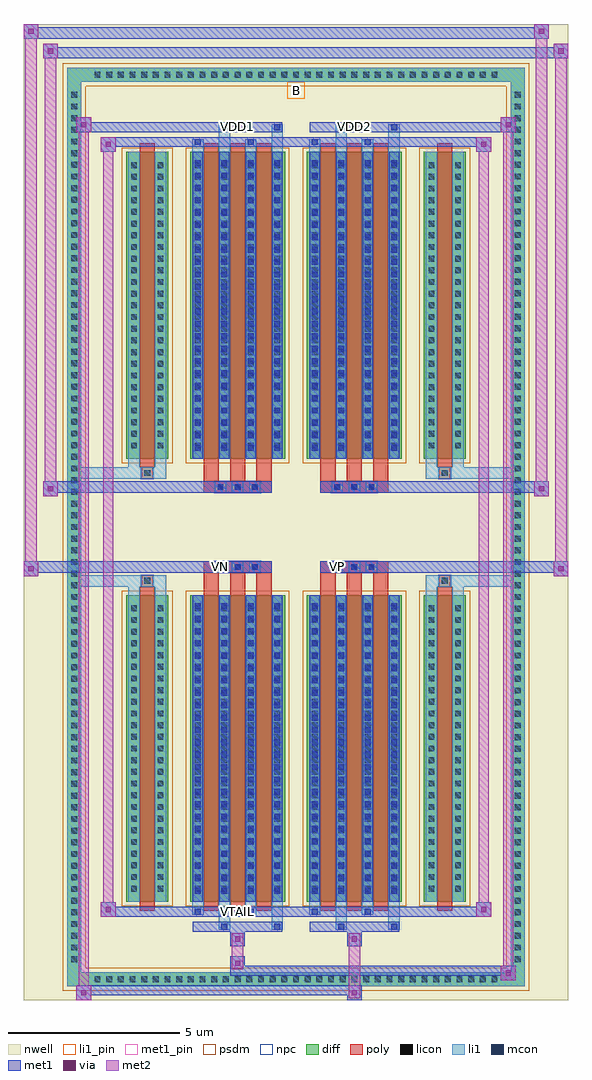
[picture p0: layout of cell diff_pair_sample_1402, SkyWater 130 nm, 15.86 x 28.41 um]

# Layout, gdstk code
import gdstk
lib = gdstk.Library(unit=1e-6, precision=5e-09)
def R(c, l, rs):  # rectangles x0, y0, x1, y1
    for r in rs: c.add(gdstk.rectangle(r[:2], r[2:], *l))
def A(c, l, x, y, w, h, nx, ny, dx, dy):  # array of equal rectangles
    R(c, l, [(x+i*dx, y+j*dy, x+i*dx+w, y+j*dy+h) for i in range(nx) for j in range(ny)])
def P(c, l, *ps):  # polygons
    for p in ps: c.add(gdstk.Polygon(p, *l))
nwell = (64, 20)
diff = (65, 20)
poly = (66, 20)
licon = (66, 44)
li1_pin = (67, 16)
li1 = (67, 20)
mcon = (67, 44)
met1_pin = (68, 16)
met1 = (68, 20)
via = (68, 44)
met2 = (69, 20)
psdm = (94, 20)
npc = (95, 20)

diff_pair_sample_1402 = lib.new_cell('diff_pair_sample_1402')
R(diff_pair_sample_1402, nwell, [(-7.93,-13.77,7.93,14.64), (-5.25,-11.96,-0.01,-0.8), (0.01,-11.96,5.25,-0.8), (-5.25,0.8,-0.01,11.96), (0.01,0.8,5.25,11.96)])
A(diff_pair_sample_1402, diff, -5.985, -13.37, 0.41, 0.41, 35, 2, 0.34, 26.33)
A(diff_pair_sample_1402, diff, -6.66, -12.785, 0.41, 0.41, 1, 75, 0, 0.34)
A(diff_pair_sample_1402, diff, 6.25, -12.785, 0.41, 0.41, 1, 75, 0, 0.34)
R(diff_pair_sample_1402, diff, [(-5.985,-13.37,5.985,-12.96), (-6.66,-12.785,-6.25,12.785), (6.25,-12.785,6.66,12.785), (-4.94,-10.915,-3.72,-1.985), (-3.08,-10.915,-0.32,-1.985), (0.32,-10.915,3.08,-1.985), (3.72,-10.915,4.94,-1.985), (-4.94,1.985,-3.72,10.915), (-3.08,1.985,-0.32,10.915), (0.32,1.985,3.08,10.915), (3.72,1.985,4.94,10.915), (-5.985,12.96,5.985,13.37)])
P(diff_pair_sample_1402, diff, [(6.66,13.37),(-6.66,13.37),(-6.66,-12.96),(-6.25,-12.96),(-6.25,12.96),(6.25,12.96),(6.25,-12.96),(-6.25,-12.96),(-6.66,-12.96),(-6.66,-13.37),(6.66,-13.37)])
A(diff_pair_sample_1402, poly, -2.69, -11.165, 0.44, 9.43, 3, 2, 0.77, 12.9)
A(diff_pair_sample_1402, poly, 0.71, -11.165, 0.44, 9.43, 3, 2, 0.77, 12.9)
A(diff_pair_sample_1402, poly, -2.69, -1.735, 0.44, 0.405, 3, 2, 0.77, 3.065)
A(diff_pair_sample_1402, poly, 0.71, -1.735, 0.44, 0.405, 3, 2, 0.77, 3.065)
A(diff_pair_sample_1402, poly, -2.365, -1.33, 0.33, 0.33, 3, 2, 0.5, 2.33)
A(diff_pair_sample_1402, poly, 1.035, -1.33, 0.33, 0.33, 3, 2, 0.5, 2.33)
R(diff_pair_sample_1402, poly, [(-4.55,-11.165,-4.11,-1.735), (4.11,-11.165,4.55,-1.735), (-4.495,-1.735,-4.165,-1.405), (-4.495,-1.735,-4.165,-1.405), (4.165,-1.735,4.495,-1.405), (4.165,-1.735,4.495,-1.405), (-2.69,-1.33,-0.71,-1), (0.71,-1.33,2.69,-1), (-2.69,1,-0.71,1.33), (0.71,1,2.69,1.33), (-4.495,1.405,-4.165,1.735), (-4.495,1.405,-4.165,1.735), (4.165,1.405,4.495,1.735), (4.165,1.405,4.495,1.735), (-4.55,1.735,-4.11,11.165), (4.11,1.735,4.55,11.165)])
A(diff_pair_sample_1402, licon, -5.865, -13.25, 0.17, 0.17, 35, 2, 0.34, 26.33)
A(diff_pair_sample_1402, licon, -6.54, -12.665, 0.17, 0.17, 1, 75, 0, 0.34)
A(diff_pair_sample_1402, licon, 6.37, -12.665, 0.17, 0.17, 1, 75, 0, 0.34)
A(diff_pair_sample_1402, licon, -4.8, -10.615, 0.17, 0.17, 1, 25, 0, 0.34)
A(diff_pair_sample_1402, licon, -4.03, -10.615, 0.17, 0.17, 1, 25, 0, 0.34)
A(diff_pair_sample_1402, licon, -2.94, -10.615, 0.17, 0.17, 4, 25, 0.77, 0.34)
A(diff_pair_sample_1402, licon, 0.46, -10.615, 0.17, 0.17, 4, 25, 0.77, 0.34)
A(diff_pair_sample_1402, licon, 3.86, -10.615, 0.17, 0.17, 1, 25, 0, 0.34)
A(diff_pair_sample_1402, licon, 4.63, -10.615, 0.17, 0.17, 1, 25, 0, 0.34)
A(diff_pair_sample_1402, licon, -2.285, -1.25, 0.17, 0.17, 3, 2, 0.5, 2.33)
A(diff_pair_sample_1402, licon, 1.115, -1.25, 0.17, 0.17, 3, 2, 0.5, 2.33)
A(diff_pair_sample_1402, licon, -4.8, 2.285, 0.17, 0.17, 1, 25, 0, 0.34)
A(diff_pair_sample_1402, licon, -4.03, 2.285, 0.17, 0.17, 1, 25, 0, 0.34)
A(diff_pair_sample_1402, licon, -2.94, 2.285, 0.17, 0.17, 4, 25, 0.77, 0.34)
A(diff_pair_sample_1402, licon, 0.46, 2.285, 0.17, 0.17, 4, 25, 0.77, 0.34)
A(diff_pair_sample_1402, licon, 3.86, 2.285, 0.17, 0.17, 1, 25, 0, 0.34)
A(diff_pair_sample_1402, licon, 4.63, 2.285, 0.17, 0.17, 1, 25, 0, 0.34)
R(diff_pair_sample_1402, licon, [(-4.415,-1.655,-4.245,-1.485), (4.245,-1.655,4.415,-1.485), (-4.415,1.485,-4.245,1.655), (4.245,1.485,4.415,1.655)])
R(diff_pair_sample_1402, li1_pin, [(-0.25,12.46,0.25,12.96)])
A(diff_pair_sample_1402, li1, -5.945, -13.33, 0.33, 0.33, 35, 2, 0.34, 26.33)
A(diff_pair_sample_1402, li1, -6.62, -12.745, 0.33, 0.33, 1, 75, 0, 0.34)
A(diff_pair_sample_1402, li1, 6.29, -12.745, 0.33, 0.33, 1, 75, 0, 0.34)
A(diff_pair_sample_1402, li1, -3.02, -10.915, 0.33, 8.93, 4, 2, 0.77, 12.9)
A(diff_pair_sample_1402, li1, 0.38, -10.915, 0.33, 8.93, 4, 2, 0.77, 12.9)
A(diff_pair_sample_1402, li1, -4.88, -10.695, 0.33, 0.33, 1, 25, 0, 0.34)
A(diff_pair_sample_1402, li1, -4.11, -10.695, 0.33, 0.33, 1, 25, 0, 0.34)
A(diff_pair_sample_1402, li1, -3.02, -10.695, 0.33, 0.33, 4, 25, 0.77, 0.34)
A(diff_pair_sample_1402, li1, 0.38, -10.695, 0.33, 0.33, 4, 25, 0.77, 0.34)
A(diff_pair_sample_1402, li1, 3.78, -10.695, 0.33, 0.33, 1, 25, 0, 0.34)
A(diff_pair_sample_1402, li1, 4.55, -10.695, 0.33, 0.33, 1, 25, 0, 0.34)
A(diff_pair_sample_1402, li1, -2.94, -10.675, 0.17, 0.17, 4, 24, 0.77, 0.36)
A(diff_pair_sample_1402, li1, -2.94, -10.675, 0.17, 8.45, 4, 2, 0.77, 12.9)
A(diff_pair_sample_1402, li1, 0.46, -10.675, 0.17, 0.17, 4, 24, 0.77, 0.36)
A(diff_pair_sample_1402, li1, 0.46, -10.675, 0.17, 8.45, 4, 2, 0.77, 12.9)
A(diff_pair_sample_1402, li1, -2.365, -1.33, 0.33, 0.33, 3, 2, 0.5, 2.33)
A(diff_pair_sample_1402, li1, 1.035, -1.33, 0.33, 0.33, 3, 2, 0.5, 2.33)
A(diff_pair_sample_1402, li1, -4.88, 2.205, 0.33, 0.33, 1, 25, 0, 0.34)
A(diff_pair_sample_1402, li1, -4.11, 2.205, 0.33, 0.33, 1, 25, 0, 0.34)
A(diff_pair_sample_1402, li1, -3.02, 2.205, 0.33, 0.33, 4, 25, 0.77, 0.34)
A(diff_pair_sample_1402, li1, 0.38, 2.205, 0.33, 0.33, 4, 25, 0.77, 0.34)
A(diff_pair_sample_1402, li1, 3.78, 2.205, 0.33, 0.33, 1, 25, 0, 0.34)
A(diff_pair_sample_1402, li1, 4.55, 2.205, 0.33, 0.33, 1, 25, 0, 0.34)
A(diff_pair_sample_1402, li1, -2.94, 2.225, 0.17, 0.17, 4, 24, 0.77, 0.36)
A(diff_pair_sample_1402, li1, 0.46, 2.225, 0.17, 0.17, 4, 24, 0.77, 0.36)
R(diff_pair_sample_1402, li1, [(-6.66,-13.37,-6.25,-12.96), (-6.66,-13.37,-6.25,-12.96), (-6.25,-13.37,6.25,-12.96), (6.25,-13.37,6.66,-12.96), (6.25,-13.37,6.66,-12.96), (-6.66,-12.96,-6.25,12.96), (6.25,-12.96,6.66,12.96), (-2.25,-11.72,-1.92,-10.915), (-2.17,-11.72,-2,-11.55), (-0.71,-11.72,-0.38,-10.915), (-0.63,-11.72,-0.46,-11.55), (1.15,-11.72,1.48,-10.915), (1.23,-11.72,1.4,-11.55), (2.69,-11.72,3.02,-10.915), (2.77,-11.72,2.94,-11.55), (-3.02,-11.29,-2.69,-10.915), (-2.94,-11.29,-2.77,-11.12), (-1.48,-11.29,-1.15,-10.915), (-1.4,-11.29,-1.23,-11.12), (0.38,-11.29,0.71,-10.915), (0.46,-11.29,0.63,-11.12), (1.92,-11.29,2.25,-10.915), (2,-11.29,2.17,-11.12), (-4.88,-10.915,-4.55,-1.985), (-4.11,-10.915,-3.78,-1.985), (3.78,-10.915,4.11,-1.985), (4.55,-10.915,4.88,-1.985), (-4.88,-1.985,-4.55,-1.405), (-4.11,-1.985,-3.78,-1.405), (3.78,-1.985,4.11,-1.405), (4.55,-1.985,4.88,-1.405), (-6.66,-1.735,-4.495,-1.405), (-4.88,-1.735,-4.495,-1.405), (-4.495,-1.735,-4.165,-1.405), (-4.165,-1.735,-3.78,-1.405), (3.78,-1.735,4.165,-1.405), (4.165,-1.735,4.495,-1.405), (4.165,-1.735,6.66,-1.405), (4.495,-1.735,4.88,-1.405), (-6.66,1.405,-4.495,1.735), (-4.88,1.405,-4.495,1.735), (-4.88,1.405,-4.55,1.985), (-4.495,1.405,-4.165,1.735), (-4.165,1.405,-3.78,1.735), (-4.11,1.405,-3.78,1.985), (3.78,1.405,4.165,1.735), (3.78,1.405,4.11,1.985), (4.165,1.405,4.495,1.735), (4.165,1.405,6.66,1.735), (4.495,1.405,4.88,1.735), (4.55,1.405,4.88,1.985), (-4.88,1.985,-4.55,10.915), (-4.11,1.985,-3.78,10.915), (3.78,1.985,4.11,10.915), (4.55,1.985,4.88,10.915), (-3.02,10.915,-2.69,11.29), (-2.25,10.915,-1.92,11.72), (-1.48,10.915,-1.15,11.29), (-0.71,10.915,-0.38,11.72), (0.38,10.915,0.71,11.29), (1.15,10.915,1.48,11.72), (1.92,10.915,2.25,11.29), (2.69,10.915,3.02,11.72), (-2.94,11.12,-2.77,11.29), (-1.4,11.12,-1.23,11.29), (0.46,11.12,0.63,11.29), (2,11.12,2.17,11.29), (-2.17,11.55,-2,11.72), (-0.63,11.55,-0.46,11.72), (1.23,11.55,1.4,11.72), (2.77,11.55,2.94,11.72), (-6.66,12.96,-6.25,13.37), (-6.66,12.96,-6.25,13.37), (-6.25,12.96,6.25,13.37), (6.25,12.96,6.66,13.37), (6.25,12.96,6.66,13.37)])
A(diff_pair_sample_1402, mcon, -2.94, -10.675, 0.17, 0.17, 4, 24, 0.77, 0.36)
A(diff_pair_sample_1402, mcon, 0.46, -10.675, 0.17, 0.17, 4, 24, 0.77, 0.36)
A(diff_pair_sample_1402, mcon, -2.285, -1.25, 0.17, 0.17, 3, 2, 0.5, 2.33)
A(diff_pair_sample_1402, mcon, 1.115, -1.25, 0.17, 0.17, 3, 2, 0.5, 2.33)
A(diff_pair_sample_1402, mcon, -2.94, 2.225, 0.17, 0.17, 4, 24, 0.77, 0.36)
A(diff_pair_sample_1402, mcon, 0.46, 2.225, 0.17, 0.17, 4, 24, 0.77, 0.36)
R(diff_pair_sample_1402, mcon, [(-2.17,-11.72,-2,-11.55), (-0.63,-11.72,-0.46,-11.55), (1.23,-11.72,1.4,-11.55), (2.77,-11.72,2.94,-11.55), (-2.94,-11.29,-2.77,-11.12), (-1.4,-11.29,-1.23,-11.12), (0.46,-11.29,0.63,-11.12), (2,-11.29,2.17,-11.12), (-2.94,11.12,-2.77,11.29), (-1.4,11.12,-1.23,11.29), (0.46,11.12,0.63,11.29), (2,11.12,2.17,11.29), (-2.17,11.55,-2,11.72), (-0.63,11.55,-0.46,11.72), (1.23,11.55,1.4,11.72), (2.77,11.55,2.94,11.72)])
R(diff_pair_sample_1402, met1_pin, [(-1.835,-11.33,-1.565,-11.06), (-2.335,-1.29,-2.065,-1.02), (1.065,-1.29,1.335,-1.02), (-1.835,11.51,-1.565,11.78), (1.565,11.51,1.835,11.78)])
A(diff_pair_sample_1402, met1, -3, -10.915, 0.29, 8.93, 4, 2, 0.77, 12.9)
A(diff_pair_sample_1402, met1, 0.4, -10.915, 0.29, 8.93, 4, 2, 0.77, 12.9)
A(diff_pair_sample_1402, met1, -3, -10.735, 0.29, 0.29, 4, 24, 0.77, 0.36)
A(diff_pair_sample_1402, met1, 0.4, -10.735, 0.29, 0.29, 4, 24, 0.77, 0.36)
A(diff_pair_sample_1402, met1, -2.345, -1.31, 0.29, 0.29, 3, 2, 0.5, 2.33)
A(diff_pair_sample_1402, met1, 1.055, -1.31, 0.29, 0.29, 3, 2, 0.5, 2.33)
A(diff_pair_sample_1402, met1, -3, 2.165, 0.29, 0.29, 4, 24, 0.77, 0.36)
A(diff_pair_sample_1402, met1, 0.4, 2.165, 0.29, 0.29, 4, 24, 0.77, 0.36)
R(diff_pair_sample_1402, met1, [(-6.39,-13.77,-5.96,-13.34), (1.485,-13.77,1.915,-13.34), (-6.39,-13.63,1.915,-13.34), (5.96,-13.2,6.39,-12.77), (-1.915,-13.06,6.39,-12.77), (-1.915,-12.92,-1.485,-12.49), (-1.915,-12.21,-1.485,-11.78), (1.485,-12.21,1.915,-11.78), (-3,-11.78,-0.4,-11.49), (-2.23,-11.78,-1.94,-11.49), (-0.69,-11.78,-0.4,-11.49), (0.4,-11.78,3,-11.49), (1.17,-11.78,1.46,-11.49), (2.71,-11.78,3,-11.49), (-5.68,-11.35,-5.25,-10.92), (-5.68,-11.35,-3,-11.06), (-3,-11.35,-2.71,-11.06), (-3,-11.35,-0.4,-11.06), (-1.46,-11.35,-1.17,-11.06), (-0.4,-11.35,0.4,-11.06), (0.4,-11.35,0.69,-11.06), (0.4,-11.35,3,-11.06), (1.94,-11.35,2.23,-11.06), (3,-11.35,5.68,-11.06), (5.25,-11.35,5.68,-10.92), (-7.93,-1.43,-7.5,-1), (7.5,-1.43,7.93,-1), (-7.93,-1.33,-0.71,-1), (-2.69,-1.33,-0.71,-1), (0.71,-1.33,2.69,-1), (0.71,-1.33,7.93,-1), (-7.36,0.9,-6.93,1.33), (6.93,0.9,7.36,1.33), (-7.36,1,-2.69,1.33), (-2.69,1,-0.71,1.33), (0.71,1,2.69,1.33), (2.69,1,7.36,1.33), (-5.68,10.92,-5.25,11.35), (5.25,10.92,5.68,11.35), (-5.68,11.06,-3,11.35), (-3,11.06,-2.71,11.35), (-3,11.06,-0.4,11.35), (-1.46,11.06,-1.17,11.35), (-0.4,11.06,0.4,11.35), (0.4,11.06,0.69,11.35), (0.4,11.06,3,11.35), (1.94,11.06,2.23,11.35), (3,11.06,5.68,11.35), (-6.39,11.49,-5.96,11.92), (-6.39,11.49,-3,11.78), (-3,11.49,-0.4,11.78), (-2.23,11.49,-1.94,11.78), (-0.69,11.49,-0.4,11.78), (0.4,11.49,3,11.78), (1.17,11.49,1.46,11.78), (2.71,11.49,3,11.78), (3,11.49,6.39,11.78), (5.96,11.49,6.39,11.92), (-7.36,13.64,-6.93,14.07), (-7.36,13.64,-5.25,13.97), (-5.25,13.64,5.25,13.97), (5.25,13.64,7.93,13.97), (7.5,13.64,7.93,14.07), (-7.93,14.21,-7.5,14.64), (-7.93,14.21,-5.25,14.54), (-5.25,14.21,5.25,14.54), (5.25,14.21,7.36,14.54), (6.93,14.21,7.36,14.64)])
R(diff_pair_sample_1402, via, [(-6.25,-13.63,-6.1,-13.48), (1.625,-13.63,1.775,-13.48), (6.1,-13.06,6.25,-12.91), (-1.775,-12.78,-1.625,-12.63), (-1.775,-12.07,-1.625,-11.92), (1.625,-12.07,1.775,-11.92), (-5.54,-11.21,-5.39,-11.06), (5.39,-11.21,5.54,-11.06), (-7.79,-1.29,-7.64,-1.14), (7.64,-1.29,7.79,-1.14), (-7.22,1.04,-7.07,1.19), (7.07,1.04,7.22,1.19), (-5.54,11.06,-5.39,11.21), (5.39,11.06,5.54,11.21), (-6.25,11.63,-6.1,11.78), (6.1,11.63,6.25,11.78), (-7.22,13.78,-7.07,13.93), (7.64,13.78,7.79,13.93), (-7.79,14.35,-7.64,14.5), (7.07,14.35,7.22,14.5)])
R(diff_pair_sample_1402, met2, [(-6.39,-13.77,-5.96,-13.34), (-6.32,-13.77,-6.03,11.92), (-6.03,-13.77,-5.96,-13.34), (-6.34,-13.72,-6.01,-13.39), (1.535,-13.72,1.865,-13.39), (1.535,-13.39,1.865,-12.16), (5.96,-13.2,6.39,-12.77), (6.03,-13.2,6.32,11.92), (6.32,-13.2,6.39,-12.77), (6.01,-13.15,6.34,-12.82), (-1.865,-12.87,-1.535,-12.54), (-1.865,-12.54,-1.535,-12.16), (-1.865,-12.16,-1.535,-11.83), (1.535,-12.16,1.865,-11.83), (-5.68,-11.35,-5.25,-10.92), (-5.61,-11.35,-5.32,11.35), (-5.32,-11.35,-5.25,-10.92), (5.25,-11.35,5.68,-10.92), (5.32,-11.35,5.61,11.35), (5.61,-11.35,5.68,-10.92), (-5.63,-11.3,-5.3,-10.97), (5.3,-11.3,5.63,-10.97), (-7.93,-1.43,-7.5,-1), (-7.88,-1.43,-7.55,14.64), (-7.55,-1.43,-7.5,-1), (7.5,-1.43,7.93,-1), (7.55,-1.43,7.88,14.07), (7.88,-1.43,7.93,-1), (-7.88,-1.38,-7.55,-1.05), (7.55,-1.38,7.88,-1.05), (-7.36,0.9,-6.93,1.33), (-7.31,0.9,-6.98,14.07), (-6.98,0.9,-6.93,1.33), (6.93,0.9,7.36,1.33), (6.98,0.9,7.31,14.64), (7.31,0.9,7.36,1.33), (-7.31,0.95,-6.98,1.28), (6.98,0.95,7.31,1.28), (-5.68,10.92,-5.25,11.35), (-5.32,10.92,-5.25,11.35), (5.25,10.92,5.68,11.35), (5.61,10.92,5.68,11.35), (-5.63,10.97,-5.3,11.3), (5.3,10.97,5.63,11.3), (-6.39,11.49,-5.96,11.92), (-6.03,11.49,-5.96,11.92), (5.96,11.49,6.39,11.92), (6.32,11.49,6.39,11.92), (-6.34,11.54,-6.01,11.87), (6.01,11.54,6.34,11.87), (-7.36,13.64,-6.93,14.07), (-6.98,13.64,-6.93,14.07), (7.5,13.64,7.93,14.07), (7.88,13.64,7.93,14.07), (-7.31,13.69,-6.98,14.02), (7.55,13.69,7.88,14.02), (-7.93,14.21,-7.5,14.64), (-7.55,14.21,-7.5,14.64), (6.93,14.21,7.36,14.64), (7.31,14.21,7.36,14.64), (-7.88,14.26,-7.55,14.59), (6.98,14.26,7.31,14.59)])
R(diff_pair_sample_1402, psdm, [(-5.07,-11.045,-3.59,-1.855), (-3.21,-11.045,-0.19,-1.855), (0.19,-11.045,3.21,-1.855), (3.59,-11.045,5.07,-1.855), (-5.07,1.855,-3.59,11.045), (-3.21,1.855,-0.19,11.045), (0.19,1.855,3.21,11.045), (3.59,1.855,5.07,11.045)])
P(diff_pair_sample_1402, psdm, [(6.79,13.5),(-6.79,13.5),(-6.79,-12.83),(-6.12,-12.83),(-6.12,12.83),(6.12,12.83),(6.12,-12.83),(-6.12,-12.83),(-6.79,-12.83),(-6.79,-13.5),(6.79,-13.5)])
A(diff_pair_sample_1402, npc, -2.385, -1.35, 0.37, 0.37, 3, 2, 0.5, 2.33)
A(diff_pair_sample_1402, npc, 1.015, -1.35, 0.37, 0.37, 3, 2, 0.5, 2.33)
R(diff_pair_sample_1402, npc, [(-4.515,-1.755,-4.145,-1.385), (4.145,-1.755,4.515,-1.385), (-2.385,-1.35,-1.515,-0.98), (-2.385,-1.35,-1.515,-0.98), (-1.885,-1.35,-1.015,-0.98), (-1.885,-1.35,-1.015,-0.98), (1.015,-1.35,1.885,-0.98), (1.015,-1.35,1.885,-0.98), (1.515,-1.35,2.385,-0.98), (1.515,-1.35,2.385,-0.98), (-2.385,0.98,-1.515,1.35), (-2.385,0.98,-1.515,1.35), (-1.885,0.98,-1.015,1.35), (-1.885,0.98,-1.015,1.35), (1.015,0.98,1.885,1.35), (1.015,0.98,1.885,1.35), (1.515,0.98,2.385,1.35), (1.515,0.98,2.385,1.35), (-4.515,1.385,-4.145,1.755), (4.145,1.385,4.515,1.755)])
diff_pair_sample_1402.add(gdstk.Label('VTAIL', (-1.7,-11.195), layer=68, texttype=5))
diff_pair_sample_1402.add(gdstk.Label('VN', (-2.2,-1.155), layer=68, texttype=5))
diff_pair_sample_1402.add(gdstk.Label('VP', (1.2,-1.155), layer=68, texttype=5))
diff_pair_sample_1402.add(gdstk.Label('B', (0,12.71), layer=67, texttype=5))
diff_pair_sample_1402.add(gdstk.Label('VDD2', (1.7,11.645), layer=68, texttype=5))
diff_pair_sample_1402.add(gdstk.Label('VDD1', (-1.7,11.645), layer=68, texttype=5))

lib.write_gds('diff_pair_sample_1402.gds')
